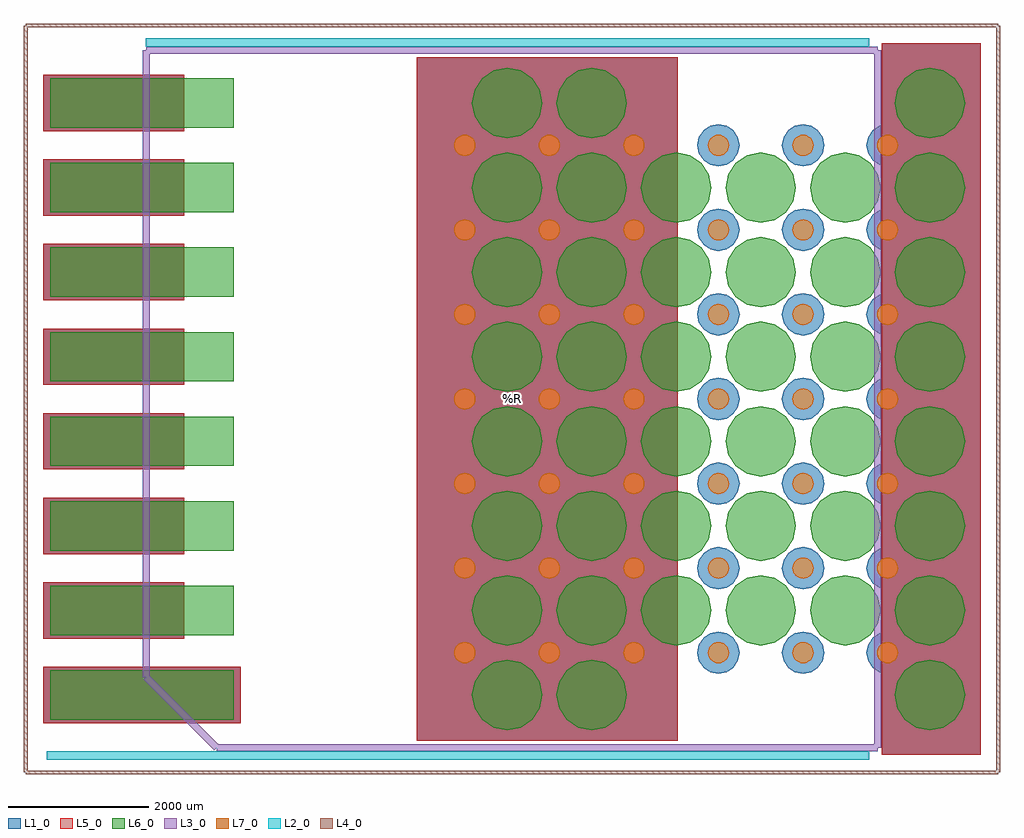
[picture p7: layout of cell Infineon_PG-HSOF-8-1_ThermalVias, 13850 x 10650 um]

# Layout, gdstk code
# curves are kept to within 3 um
import gdstk
lib = gdstk.Library(unit=1e-6, precision=1e-09)
def R(c, l, rs):  # rectangles x0, y0, x1, y1
    for r in rs: c.add(gdstk.rectangle(r[:2], r[2:], *l))
def A(c, l, x, y, w, h, nx, ny, dx, dy):  # array of equal rectangles
    R(c, l, [(x+i*dx, y+j*dy, x+i*dx+w, y+j*dy+h) for i in range(nx) for j in range(ny)])
def P(c, l, *ps):  # polygons
    for p in ps: c.add(gdstk.Polygon(p, *l))
L1_0 = (1, 0)
L2_0 = (2, 0)
L3_0 = (3, 0)
L4_0 = (4, 0)
L5_0 = (5, 0)
L6_0 = (6, 0)
L7_0 = (7, 0)

infineon_pg_hsof_8_1_the = lib.new_cell('Infineon_PG-HSOF-8-1_ThermalVias')
A(infineon_pg_hsof_8_1_the, L1_0, -6650, -3400, 2000, 800, 1, 7, 0, 1200)
R(infineon_pg_hsof_8_1_the, L1_0, [(5250,-5050,6650,5050), (5250,-5050,6650,5050), (-1350,-4850,2350,4850), (-1350,-4850,2350,4850), (-6650,-4600,-3850,-3800)])
P(infineon_pg_hsof_8_1_the, L1_0, [(5630,0),(5607,115),(5542,212),(5445,277),(5330,300),(5215,277),(5118,212),(5053,115),(5030,0),(5053,-115),(5118,-212),(5215,-277),(5330,-300),(5445,-277),(5542,-212),(5607,-115)],
  [(4430,0),(4407,115),(4342,212),(4245,277),(4130,300),(4015,277),(3918,212),(3853,115),(3830,0),(3853,-115),(3918,-212),(4015,-277),(4130,-300),(4245,-277),(4342,-212),(4407,-115)],
  [(-370,1200),(-393,1315),(-458,1412),(-555,1477),(-670,1500),(-785,1477),(-882,1412),(-947,1315),(-970,1200),(-947,1085),(-882,988),(-785,923),(-670,900),(-555,923),(-458,988),(-393,1085)],
  [(2030,1200),(2007,1315),(1942,1412),(1845,1477),(1730,1500),(1615,1477),(1518,1412),(1453,1315),(1430,1200),(1453,1085),(1518,988),(1615,923),(1730,900),(1845,923),(1942,988),(2007,1085)],
  [(830,1200),(807,1315),(742,1412),(645,1477),(530,1500),(415,1477),(318,1412),(253,1315),(230,1200),(253,1085),(318,988),(415,923),(530,900),(645,923),(742,988),(807,1085)],
  [(2030,2400),(2007,2515),(1942,2612),(1845,2677),(1730,2700),(1615,2677),(1518,2612),(1453,2515),(1430,2400),(1453,2285),(1518,2188),(1615,2123),(1730,2100),(1845,2123),(1942,2188),(2007,2285)],
  [(5630,3600),(5607,3715),(5542,3812),(5445,3877),(5330,3900),(5215,3877),(5118,3812),(5053,3715),(5030,3600),(5053,3485),(5118,3388),(5215,3323),(5330,3300),(5445,3323),(5542,3388),(5607,3485)],
  [(4430,1200),(4407,1315),(4342,1412),(4245,1477),(4130,1500),(4015,1477),(3918,1412),(3853,1315),(3830,1200),(3853,1085),(3918,988),(4015,923),(4130,900),(4245,923),(4342,988),(4407,1085)],
  [(3230,2400),(3207,2515),(3142,2612),(3045,2677),(2930,2700),(2815,2677),(2718,2612),(2653,2515),(2630,2400),(2653,2285),(2718,2188),(2815,2123),(2930,2100),(3045,2123),(3142,2188),(3207,2285)],
  [(4430,2400),(4407,2515),(4342,2612),(4245,2677),(4130,2700),(4015,2677),(3918,2612),(3853,2515),(3830,2400),(3853,2285),(3918,2188),(4015,2123),(4130,2100),(4245,2123),(4342,2188),(4407,2285)],
  [(4430,3600),(4407,3715),(4342,3812),(4245,3877),(4130,3900),(4015,3877),(3918,3812),(3853,3715),(3830,3600),(3853,3485),(3918,3388),(4015,3323),(4130,3300),(4245,3323),(4342,3388),(4407,3485)],
  [(3230,1200),(3207,1315),(3142,1412),(3045,1477),(2930,1500),(2815,1477),(2718,1412),(2653,1315),(2630,1200),(2653,1085),(2718,988),(2815,923),(2930,900),(3045,923),(3142,988),(3207,1085)],
  [(3230,3600),(3207,3715),(3142,3812),(3045,3877),(2930,3900),(2815,3877),(2718,3812),(2653,3715),(2630,3600),(2653,3485),(2718,3388),(2815,3323),(2930,3300),(3045,3323),(3142,3388),(3207,3485)],
  [(5630,2400),(5607,2515),(5542,2612),(5445,2677),(5330,2700),(5215,2677),(5118,2612),(5053,2515),(5030,2400),(5053,2285),(5118,2188),(5215,2123),(5330,2100),(5445,2123),(5542,2188),(5607,2285)],
  [(5630,1200),(5607,1315),(5542,1412),(5445,1477),(5330,1500),(5215,1477),(5118,1412),(5053,1315),(5030,1200),(5053,1085),(5118,988),(5215,923),(5330,900),(5445,923),(5542,988),(5607,1085)],
  [(-370,3600),(-393,3715),(-458,3812),(-555,3877),(-670,3900),(-785,3877),(-882,3812),(-947,3715),(-970,3600),(-947,3485),(-882,3388),(-785,3323),(-670,3300),(-555,3323),(-458,3388),(-393,3485)],
  [(-370,2400),(-393,2515),(-458,2612),(-555,2677),(-670,2700),(-785,2677),(-882,2612),(-947,2515),(-970,2400),(-947,2285),(-882,2188),(-785,2123),(-670,2100),(-555,2123),(-458,2188),(-393,2285)],
  [(830,2400),(807,2515),(742,2612),(645,2677),(530,2700),(415,2677),(318,2612),(253,2515),(230,2400),(253,2285),(318,2188),(415,2123),(530,2100),(645,2123),(742,2188),(807,2285)],
  [(830,3600),(807,3715),(742,3812),(645,3877),(530,3900),(415,3877),(318,3812),(253,3715),(230,3600),(253,3485),(318,3388),(415,3323),(530,3300),(645,3323),(742,3388),(807,3485)],
  [(2030,3600),(2007,3715),(1942,3812),(1845,3877),(1730,3900),(1615,3877),(1518,3812),(1453,3715),(1430,3600),(1453,3485),(1518,3388),(1615,3323),(1730,3300),(1845,3323),(1942,3388),(2007,3485)],
  [(3230,0),(3207,115),(3142,212),(3045,277),(2930,300),(2815,277),(2718,212),(2653,115),(2630,0),(2653,-115),(2718,-212),(2815,-277),(2930,-300),(3045,-277),(3142,-212),(3207,-115)],
  [(2030,0),(2007,115),(1942,212),(1845,277),(1730,300),(1615,277),(1518,212),(1453,115),(1430,0),(1453,-115),(1518,-212),(1615,-277),(1730,-300),(1845,-277),(1942,-212),(2007,-115)],
  [(-370,0),(-393,115),(-458,212),(-555,277),(-670,300),(-785,277),(-882,212),(-947,115),(-970,0),(-947,-115),(-882,-212),(-785,-277),(-670,-300),(-555,-277),(-458,-212),(-393,-115)],
  [(830,0),(807,115),(742,212),(645,277),(530,300),(415,277),(318,212),(253,115),(230,0),(253,-115),(318,-212),(415,-277),(530,-300),(645,-277),(742,-212),(807,-115)],
  [(4430,-1200),(4407,-1085),(4342,-988),(4245,-923),(4130,-900),(4015,-923),(3918,-988),(3853,-1085),(3830,-1200),(3853,-1315),(3918,-1412),(4015,-1477),(4130,-1500),(4245,-1477),(4342,-1412),(4407,-1315)],
  [(5630,-1200),(5607,-1085),(5542,-988),(5445,-923),(5330,-900),(5215,-923),(5118,-988),(5053,-1085),(5030,-1200),(5053,-1315),(5118,-1412),(5215,-1477),(5330,-1500),(5445,-1477),(5542,-1412),(5607,-1315)],
  [(2030,-1200),(2007,-1085),(1942,-988),(1845,-923),(1730,-900),(1615,-923),(1518,-988),(1453,-1085),(1430,-1200),(1453,-1315),(1518,-1412),(1615,-1477),(1730,-1500),(1845,-1477),(1942,-1412),(2007,-1315)],
  [(3230,-1200),(3207,-1085),(3142,-988),(3045,-923),(2930,-900),(2815,-923),(2718,-988),(2653,-1085),(2630,-1200),(2653,-1315),(2718,-1412),(2815,-1477),(2930,-1500),(3045,-1477),(3142,-1412),(3207,-1315)],
  [(830,-1200),(807,-1085),(742,-988),(645,-923),(530,-900),(415,-923),(318,-988),(253,-1085),(230,-1200),(253,-1315),(318,-1412),(415,-1477),(530,-1500),(645,-1477),(742,-1412),(807,-1315)],
  [(-370,-1200),(-393,-1085),(-458,-988),(-555,-923),(-670,-900),(-785,-923),(-882,-988),(-947,-1085),(-970,-1200),(-947,-1315),(-882,-1412),(-785,-1477),(-670,-1500),(-555,-1477),(-458,-1412),(-393,-1315)],
  [(830,-2400),(807,-2285),(742,-2188),(645,-2123),(530,-2100),(415,-2123),(318,-2188),(253,-2285),(230,-2400),(253,-2515),(318,-2612),(415,-2677),(530,-2700),(645,-2677),(742,-2612),(807,-2515)],
  [(-370,-2400),(-393,-2285),(-458,-2188),(-555,-2123),(-670,-2100),(-785,-2123),(-882,-2188),(-947,-2285),(-970,-2400),(-947,-2515),(-882,-2612),(-785,-2677),(-670,-2700),(-555,-2677),(-458,-2612),(-393,-2515)],
  [(2030,-2400),(2007,-2285),(1942,-2188),(1845,-2123),(1730,-2100),(1615,-2123),(1518,-2188),(1453,-2285),(1430,-2400),(1453,-2515),(1518,-2612),(1615,-2677),(1730,-2700),(1845,-2677),(1942,-2612),(2007,-2515)],
  [(3230,-2400),(3207,-2285),(3142,-2188),(3045,-2123),(2930,-2100),(2815,-2123),(2718,-2188),(2653,-2285),(2630,-2400),(2653,-2515),(2718,-2612),(2815,-2677),(2930,-2700),(3045,-2677),(3142,-2612),(3207,-2515)],
  [(4430,-2400),(4407,-2285),(4342,-2188),(4245,-2123),(4130,-2100),(4015,-2123),(3918,-2188),(3853,-2285),(3830,-2400),(3853,-2515),(3918,-2612),(4015,-2677),(4130,-2700),(4245,-2677),(4342,-2612),(4407,-2515)],
  [(5630,-2400),(5607,-2285),(5542,-2188),(5445,-2123),(5330,-2100),(5215,-2123),(5118,-2188),(5053,-2285),(5030,-2400),(5053,-2515),(5118,-2612),(5215,-2677),(5330,-2700),(5445,-2677),(5542,-2612),(5607,-2515)],
  [(2030,-3600),(2007,-3485),(1942,-3388),(1845,-3323),(1730,-3300),(1615,-3323),(1518,-3388),(1453,-3485),(1430,-3600),(1453,-3715),(1518,-3812),(1615,-3877),(1730,-3900),(1845,-3877),(1942,-3812),(2007,-3715)],
  [(-370,-3600),(-393,-3485),(-458,-3388),(-555,-3323),(-670,-3300),(-785,-3323),(-882,-3388),(-947,-3485),(-970,-3600),(-947,-3715),(-882,-3812),(-785,-3877),(-670,-3900),(-555,-3877),(-458,-3812),(-393,-3715)],
  [(830,-3600),(807,-3485),(742,-3388),(645,-3323),(530,-3300),(415,-3323),(318,-3388),(253,-3485),(230,-3600),(253,-3715),(318,-3812),(415,-3877),(530,-3900),(645,-3877),(742,-3812),(807,-3715)],
  [(3230,-3600),(3207,-3485),(3142,-3388),(3045,-3323),(2930,-3300),(2815,-3323),(2718,-3388),(2653,-3485),(2630,-3600),(2653,-3715),(2718,-3812),(2815,-3877),(2930,-3900),(3045,-3877),(3142,-3812),(3207,-3715)],
  [(5630,-3600),(5607,-3485),(5542,-3388),(5445,-3323),(5330,-3300),(5215,-3323),(5118,-3388),(5053,-3485),(5030,-3600),(5053,-3715),(5118,-3812),(5215,-3877),(5330,-3900),(5445,-3877),(5542,-3812),(5607,-3715)],
  [(4430,-3600),(4407,-3485),(4342,-3388),(4245,-3323),(4130,-3300),(4015,-3323),(3918,-3388),(3853,-3485),(3830,-3600),(3853,-3715),(3918,-3812),(4015,-3877),(4130,-3900),(4245,-3877),(4342,-3812),(4407,-3715)])
A(infineon_pg_hsof_8_1_the, L5_0, -6650, -3400, 2000, 800, 1, 7, 0, 1200)
R(infineon_pg_hsof_8_1_the, L5_0, [(5250,-5050,6650,5050), (-1350,-4850,2350,4850), (-6650,-4600,-3850,-3800)])
A(infineon_pg_hsof_8_1_the, L6_0, -6550, -4550, 2600, 700, 1, 8, 0, 1200)
P(infineon_pg_hsof_8_1_the, L6_0, [(430,-4200),(392,-4009),(284,-3846),(121,-3738),(-70,-3700),(-261,-3738),(-424,-3846),(-532,-4009),(-570,-4200),(-532,-4391),(-424,-4554),(-261,-4662),(-70,-4700),(121,-4662),(284,-4554),(392,-4391)],
  [(1630,-4200),(1592,-4009),(1484,-3846),(1321,-3738),(1130,-3700),(939,-3738),(776,-3846),(668,-4009),(630,-4200),(668,-4391),(776,-4554),(939,-4662),(1130,-4700),(1321,-4662),(1484,-4554),(1592,-4391)],
  [(6430,-4200),(6392,-4009),(6284,-3846),(6121,-3738),(5930,-3700),(5739,-3738),(5576,-3846),(5468,-4009),(5430,-4200),(5468,-4391),(5576,-4554),(5739,-4662),(5930,-4700),(6121,-4662),(6284,-4554),(6392,-4391)],
  [(430,-3000),(392,-2809),(284,-2646),(121,-2538),(-70,-2500),(-261,-2538),(-424,-2646),(-532,-2809),(-570,-3000),(-532,-3191),(-424,-3354),(-261,-3462),(-70,-3500),(121,-3462),(284,-3354),(392,-3191)],
  [(1630,-3000),(1592,-2809),(1484,-2646),(1321,-2538),(1130,-2500),(939,-2538),(776,-2646),(668,-2809),(630,-3000),(668,-3191),(776,-3354),(939,-3462),(1130,-3500),(1321,-3462),(1484,-3354),(1592,-3191)],
  [(2830,-3000),(2792,-2809),(2684,-2646),(2521,-2538),(2330,-2500),(2139,-2538),(1976,-2646),(1868,-2809),(1830,-3000),(1868,-3191),(1976,-3354),(2139,-3462),(2330,-3500),(2521,-3462),(2684,-3354),(2792,-3191)],
  [(4030,-3000),(3992,-2809),(3884,-2646),(3721,-2538),(3530,-2500),(3339,-2538),(3176,-2646),(3068,-2809),(3030,-3000),(3068,-3191),(3176,-3354),(3339,-3462),(3530,-3500),(3721,-3462),(3884,-3354),(3992,-3191)],
  [(5230,-3000),(5192,-2809),(5084,-2646),(4921,-2538),(4730,-2500),(4539,-2538),(4376,-2646),(4268,-2809),(4230,-3000),(4268,-3191),(4376,-3354),(4539,-3462),(4730,-3500),(4921,-3462),(5084,-3354),(5192,-3191)],
  [(6430,-3000),(6392,-2809),(6284,-2646),(6121,-2538),(5930,-2500),(5739,-2538),(5576,-2646),(5468,-2809),(5430,-3000),(5468,-3191),(5576,-3354),(5739,-3462),(5930,-3500),(6121,-3462),(6284,-3354),(6392,-3191)],
  [(430,-1800),(392,-1609),(284,-1446),(121,-1338),(-70,-1300),(-261,-1338),(-424,-1446),(-532,-1609),(-570,-1800),(-532,-1991),(-424,-2154),(-261,-2262),(-70,-2300),(121,-2262),(284,-2154),(392,-1991)],
  [(1630,-1800),(1592,-1609),(1484,-1446),(1321,-1338),(1130,-1300),(939,-1338),(776,-1446),(668,-1609),(630,-1800),(668,-1991),(776,-2154),(939,-2262),(1130,-2300),(1321,-2262),(1484,-2154),(1592,-1991)],
  [(2830,-1800),(2792,-1609),(2684,-1446),(2521,-1338),(2330,-1300),(2139,-1338),(1976,-1446),(1868,-1609),(1830,-1800),(1868,-1991),(1976,-2154),(2139,-2262),(2330,-2300),(2521,-2262),(2684,-2154),(2792,-1991)],
  [(4030,-1800),(3992,-1609),(3884,-1446),(3721,-1338),(3530,-1300),(3339,-1338),(3176,-1446),(3068,-1609),(3030,-1800),(3068,-1991),(3176,-2154),(3339,-2262),(3530,-2300),(3721,-2262),(3884,-2154),(3992,-1991)],
  [(5230,-1800),(5192,-1609),(5084,-1446),(4921,-1338),(4730,-1300),(4539,-1338),(4376,-1446),(4268,-1609),(4230,-1800),(4268,-1991),(4376,-2154),(4539,-2262),(4730,-2300),(4921,-2262),(5084,-2154),(5192,-1991)],
  [(6430,-1800),(6392,-1609),(6284,-1446),(6121,-1338),(5930,-1300),(5739,-1338),(5576,-1446),(5468,-1609),(5430,-1800),(5468,-1991),(5576,-2154),(5739,-2262),(5930,-2300),(6121,-2262),(6284,-2154),(6392,-1991)],
  [(430,-600),(392,-409),(284,-246),(121,-138),(-70,-100),(-261,-138),(-424,-246),(-532,-409),(-570,-600),(-532,-791),(-424,-954),(-261,-1062),(-70,-1100),(121,-1062),(284,-954),(392,-791)],
  [(1630,-600),(1592,-409),(1484,-246),(1321,-138),(1130,-100),(939,-138),(776,-246),(668,-409),(630,-600),(668,-791),(776,-954),(939,-1062),(1130,-1100),(1321,-1062),(1484,-954),(1592,-791)],
  [(2830,-600),(2792,-409),(2684,-246),(2521,-138),(2330,-100),(2139,-138),(1976,-246),(1868,-409),(1830,-600),(1868,-791),(1976,-954),(2139,-1062),(2330,-1100),(2521,-1062),(2684,-954),(2792,-791)],
  [(4030,-600),(3992,-409),(3884,-246),(3721,-138),(3530,-100),(3339,-138),(3176,-246),(3068,-409),(3030,-600),(3068,-791),(3176,-954),(3339,-1062),(3530,-1100),(3721,-1062),(3884,-954),(3992,-791)],
  [(5230,-600),(5192,-409),(5084,-246),(4921,-138),(4730,-100),(4539,-138),(4376,-246),(4268,-409),(4230,-600),(4268,-791),(4376,-954),(4539,-1062),(4730,-1100),(4921,-1062),(5084,-954),(5192,-791)],
  [(6430,-600),(6392,-409),(6284,-246),(6121,-138),(5930,-100),(5739,-138),(5576,-246),(5468,-409),(5430,-600),(5468,-791),(5576,-954),(5739,-1062),(5930,-1100),(6121,-1062),(6284,-954),(6392,-791)],
  [(430,600),(392,791),(284,954),(121,1062),(-70,1100),(-261,1062),(-424,954),(-532,791),(-570,600),(-532,409),(-424,246),(-261,138),(-70,100),(121,138),(284,246),(392,409)],
  [(1630,600),(1592,791),(1484,954),(1321,1062),(1130,1100),(939,1062),(776,954),(668,791),(630,600),(668,409),(776,246),(939,138),(1130,100),(1321,138),(1484,246),(1592,409)],
  [(2830,600),(2792,791),(2684,954),(2521,1062),(2330,1100),(2139,1062),(1976,954),(1868,791),(1830,600),(1868,409),(1976,246),(2139,138),(2330,100),(2521,138),(2684,246),(2792,409)],
  [(4030,600),(3992,791),(3884,954),(3721,1062),(3530,1100),(3339,1062),(3176,954),(3068,791),(3030,600),(3068,409),(3176,246),(3339,138),(3530,100),(3721,138),(3884,246),(3992,409)],
  [(5230,600),(5192,791),(5084,954),(4921,1062),(4730,1100),(4539,1062),(4376,954),(4268,791),(4230,600),(4268,409),(4376,246),(4539,138),(4730,100),(4921,138),(5084,246),(5192,409)],
  [(6430,600),(6392,791),(6284,954),(6121,1062),(5930,1100),(5739,1062),(5576,954),(5468,791),(5430,600),(5468,409),(5576,246),(5739,138),(5930,100),(6121,138),(6284,246),(6392,409)],
  [(430,1800),(392,1991),(284,2154),(121,2262),(-70,2300),(-261,2262),(-424,2154),(-532,1991),(-570,1800),(-532,1609),(-424,1446),(-261,1338),(-70,1300),(121,1338),(284,1446),(392,1609)],
  [(1630,1800),(1592,1991),(1484,2154),(1321,2262),(1130,2300),(939,2262),(776,2154),(668,1991),(630,1800),(668,1609),(776,1446),(939,1338),(1130,1300),(1321,1338),(1484,1446),(1592,1609)],
  [(2830,1800),(2792,1991),(2684,2154),(2521,2262),(2330,2300),(2139,2262),(1976,2154),(1868,1991),(1830,1800),(1868,1609),(1976,1446),(2139,1338),(2330,1300),(2521,1338),(2684,1446),(2792,1609)],
  [(4030,1800),(3992,1991),(3884,2154),(3721,2262),(3530,2300),(3339,2262),(3176,2154),(3068,1991),(3030,1800),(3068,1609),(3176,1446),(3339,1338),(3530,1300),(3721,1338),(3884,1446),(3992,1609)],
  [(5230,1800),(5192,1991),(5084,2154),(4921,2262),(4730,2300),(4539,2262),(4376,2154),(4268,1991),(4230,1800),(4268,1609),(4376,1446),(4539,1338),(4730,1300),(4921,1338),(5084,1446),(5192,1609)],
  [(6430,1800),(6392,1991),(6284,2154),(6121,2262),(5930,2300),(5739,2262),(5576,2154),(5468,1991),(5430,1800),(5468,1609),(5576,1446),(5739,1338),(5930,1300),(6121,1338),(6284,1446),(6392,1609)],
  [(430,3000),(392,3191),(284,3354),(121,3462),(-70,3500),(-261,3462),(-424,3354),(-532,3191),(-570,3000),(-532,2809),(-424,2646),(-261,2538),(-70,2500),(121,2538),(284,2646),(392,2809)],
  [(1630,3000),(1592,3191),(1484,3354),(1321,3462),(1130,3500),(939,3462),(776,3354),(668,3191),(630,3000),(668,2809),(776,2646),(939,2538),(1130,2500),(1321,2538),(1484,2646),(1592,2809)],
  [(2830,3000),(2792,3191),(2684,3354),(2521,3462),(2330,3500),(2139,3462),(1976,3354),(1868,3191),(1830,3000),(1868,2809),(1976,2646),(2139,2538),(2330,2500),(2521,2538),(2684,2646),(2792,2809)],
  [(4030,3000),(3992,3191),(3884,3354),(3721,3462),(3530,3500),(3339,3462),(3176,3354),(3068,3191),(3030,3000),(3068,2809),(3176,2646),(3339,2538),(3530,2500),(3721,2538),(3884,2646),(3992,2809)],
  [(5230,3000),(5192,3191),(5084,3354),(4921,3462),(4730,3500),(4539,3462),(4376,3354),(4268,3191),(4230,3000),(4268,2809),(4376,2646),(4539,2538),(4730,2500),(4921,2538),(5084,2646),(5192,2809)],
  [(6430,3000),(6392,3191),(6284,3354),(6121,3462),(5930,3500),(5739,3462),(5576,3354),(5468,3191),(5430,3000),(5468,2809),(5576,2646),(5739,2538),(5930,2500),(6121,2538),(6284,2646),(6392,2809)],
  [(430,4200),(392,4391),(284,4554),(121,4662),(-70,4700),(-261,4662),(-424,4554),(-532,4391),(-570,4200),(-532,4009),(-424,3846),(-261,3738),(-70,3700),(121,3738),(284,3846),(392,4009)],
  [(1630,4200),(1592,4391),(1484,4554),(1321,4662),(1130,4700),(939,4662),(776,4554),(668,4391),(630,4200),(668,4009),(776,3846),(939,3738),(1130,3700),(1321,3738),(1484,3846),(1592,4009)],
  [(6430,4200),(6392,4391),(6284,4554),(6121,4662),(5930,4700),(5739,4662),(5576,4554),(5468,4391),(5430,4200),(5468,4009),(5576,3846),(5739,3738),(5930,3700),(6121,3738),(6284,3846),(6392,4009)])
P(infineon_pg_hsof_8_1_the, L7_0, [(5480,0),(5469,57),(5436,106),(5387,139),(5330,150),(5273,139),(5224,106),(5191,57),(5180,0),(5191,-57),(5224,-106),(5273,-139),(5330,-150),(5387,-139),(5436,-106),(5469,-57)],
  [(4280,0),(4269,57),(4236,106),(4187,139),(4130,150),(4073,139),(4024,106),(3991,57),(3980,0),(3991,-57),(4024,-106),(4073,-139),(4130,-150),(4187,-139),(4236,-106),(4269,-57)],
  [(-520,1200),(-531,1257),(-564,1306),(-613,1339),(-670,1350),(-727,1339),(-776,1306),(-809,1257),(-820,1200),(-809,1143),(-776,1094),(-727,1061),(-670,1050),(-613,1061),(-564,1094),(-531,1143)],
  [(1880,1200),(1869,1257),(1836,1306),(1787,1339),(1730,1350),(1673,1339),(1624,1306),(1591,1257),(1580,1200),(1591,1143),(1624,1094),(1673,1061),(1730,1050),(1787,1061),(1836,1094),(1869,1143)],
  [(680,1200),(669,1257),(636,1306),(587,1339),(530,1350),(473,1339),(424,1306),(391,1257),(380,1200),(391,1143),(424,1094),(473,1061),(530,1050),(587,1061),(636,1094),(669,1143)],
  [(1880,2400),(1869,2457),(1836,2506),(1787,2539),(1730,2550),(1673,2539),(1624,2506),(1591,2457),(1580,2400),(1591,2343),(1624,2294),(1673,2261),(1730,2250),(1787,2261),(1836,2294),(1869,2343)],
  [(5480,3600),(5469,3657),(5436,3706),(5387,3739),(5330,3750),(5273,3739),(5224,3706),(5191,3657),(5180,3600),(5191,3543),(5224,3494),(5273,3461),(5330,3450),(5387,3461),(5436,3494),(5469,3543)],
  [(4280,1200),(4269,1257),(4236,1306),(4187,1339),(4130,1350),(4073,1339),(4024,1306),(3991,1257),(3980,1200),(3991,1143),(4024,1094),(4073,1061),(4130,1050),(4187,1061),(4236,1094),(4269,1143)],
  [(3080,2400),(3069,2457),(3036,2506),(2987,2539),(2930,2550),(2873,2539),(2824,2506),(2791,2457),(2780,2400),(2791,2343),(2824,2294),(2873,2261),(2930,2250),(2987,2261),(3036,2294),(3069,2343)],
  [(4280,2400),(4269,2457),(4236,2506),(4187,2539),(4130,2550),(4073,2539),(4024,2506),(3991,2457),(3980,2400),(3991,2343),(4024,2294),(4073,2261),(4130,2250),(4187,2261),(4236,2294),(4269,2343)],
  [(4280,3600),(4269,3657),(4236,3706),(4187,3739),(4130,3750),(4073,3739),(4024,3706),(3991,3657),(3980,3600),(3991,3543),(4024,3494),(4073,3461),(4130,3450),(4187,3461),(4236,3494),(4269,3543)],
  [(3080,1200),(3069,1257),(3036,1306),(2987,1339),(2930,1350),(2873,1339),(2824,1306),(2791,1257),(2780,1200),(2791,1143),(2824,1094),(2873,1061),(2930,1050),(2987,1061),(3036,1094),(3069,1143)],
  [(3080,3600),(3069,3657),(3036,3706),(2987,3739),(2930,3750),(2873,3739),(2824,3706),(2791,3657),(2780,3600),(2791,3543),(2824,3494),(2873,3461),(2930,3450),(2987,3461),(3036,3494),(3069,3543)],
  [(5480,2400),(5469,2457),(5436,2506),(5387,2539),(5330,2550),(5273,2539),(5224,2506),(5191,2457),(5180,2400),(5191,2343),(5224,2294),(5273,2261),(5330,2250),(5387,2261),(5436,2294),(5469,2343)],
  [(5480,1200),(5469,1257),(5436,1306),(5387,1339),(5330,1350),(5273,1339),(5224,1306),(5191,1257),(5180,1200),(5191,1143),(5224,1094),(5273,1061),(5330,1050),(5387,1061),(5436,1094),(5469,1143)],
  [(-520,3600),(-531,3657),(-564,3706),(-613,3739),(-670,3750),(-727,3739),(-776,3706),(-809,3657),(-820,3600),(-809,3543),(-776,3494),(-727,3461),(-670,3450),(-613,3461),(-564,3494),(-531,3543)],
  [(-520,2400),(-531,2457),(-564,2506),(-613,2539),(-670,2550),(-727,2539),(-776,2506),(-809,2457),(-820,2400),(-809,2343),(-776,2294),(-727,2261),(-670,2250),(-613,2261),(-564,2294),(-531,2343)],
  [(680,2400),(669,2457),(636,2506),(587,2539),(530,2550),(473,2539),(424,2506),(391,2457),(380,2400),(391,2343),(424,2294),(473,2261),(530,2250),(587,2261),(636,2294),(669,2343)],
  [(680,3600),(669,3657),(636,3706),(587,3739),(530,3750),(473,3739),(424,3706),(391,3657),(380,3600),(391,3543),(424,3494),(473,3461),(530,3450),(587,3461),(636,3494),(669,3543)],
  [(1880,3600),(1869,3657),(1836,3706),(1787,3739),(1730,3750),(1673,3739),(1624,3706),(1591,3657),(1580,3600),(1591,3543),(1624,3494),(1673,3461),(1730,3450),(1787,3461),(1836,3494),(1869,3543)],
  [(3080,0),(3069,57),(3036,106),(2987,139),(2930,150),(2873,139),(2824,106),(2791,57),(2780,0),(2791,-57),(2824,-106),(2873,-139),(2930,-150),(2987,-139),(3036,-106),(3069,-57)],
  [(1880,0),(1869,57),(1836,106),(1787,139),(1730,150),(1673,139),(1624,106),(1591,57),(1580,0),(1591,-57),(1624,-106),(1673,-139),(1730,-150),(1787,-139),(1836,-106),(1869,-57)],
  [(-520,0),(-531,57),(-564,106),(-613,139),(-670,150),(-727,139),(-776,106),(-809,57),(-820,0),(-809,-57),(-776,-106),(-727,-139),(-670,-150),(-613,-139),(-564,-106),(-531,-57)],
  [(680,0),(669,57),(636,106),(587,139),(530,150),(473,139),(424,106),(391,57),(380,0),(391,-57),(424,-106),(473,-139),(530,-150),(587,-139),(636,-106),(669,-57)],
  [(4280,-1200),(4269,-1143),(4236,-1094),(4187,-1061),(4130,-1050),(4073,-1061),(4024,-1094),(3991,-1143),(3980,-1200),(3991,-1257),(4024,-1306),(4073,-1339),(4130,-1350),(4187,-1339),(4236,-1306),(4269,-1257)],
  [(5480,-1200),(5469,-1143),(5436,-1094),(5387,-1061),(5330,-1050),(5273,-1061),(5224,-1094),(5191,-1143),(5180,-1200),(5191,-1257),(5224,-1306),(5273,-1339),(5330,-1350),(5387,-1339),(5436,-1306),(5469,-1257)],
  [(1880,-1200),(1869,-1143),(1836,-1094),(1787,-1061),(1730,-1050),(1673,-1061),(1624,-1094),(1591,-1143),(1580,-1200),(1591,-1257),(1624,-1306),(1673,-1339),(1730,-1350),(1787,-1339),(1836,-1306),(1869,-1257)],
  [(3080,-1200),(3069,-1143),(3036,-1094),(2987,-1061),(2930,-1050),(2873,-1061),(2824,-1094),(2791,-1143),(2780,-1200),(2791,-1257),(2824,-1306),(2873,-1339),(2930,-1350),(2987,-1339),(3036,-1306),(3069,-1257)],
  [(680,-1200),(669,-1143),(636,-1094),(587,-1061),(530,-1050),(473,-1061),(424,-1094),(391,-1143),(380,-1200),(391,-1257),(424,-1306),(473,-1339),(530,-1350),(587,-1339),(636,-1306),(669,-1257)],
  [(-520,-1200),(-531,-1143),(-564,-1094),(-613,-1061),(-670,-1050),(-727,-1061),(-776,-1094),(-809,-1143),(-820,-1200),(-809,-1257),(-776,-1306),(-727,-1339),(-670,-1350),(-613,-1339),(-564,-1306),(-531,-1257)],
  [(680,-2400),(669,-2343),(636,-2294),(587,-2261),(530,-2250),(473,-2261),(424,-2294),(391,-2343),(380,-2400),(391,-2457),(424,-2506),(473,-2539),(530,-2550),(587,-2539),(636,-2506),(669,-2457)],
  [(-520,-2400),(-531,-2343),(-564,-2294),(-613,-2261),(-670,-2250),(-727,-2261),(-776,-2294),(-809,-2343),(-820,-2400),(-809,-2457),(-776,-2506),(-727,-2539),(-670,-2550),(-613,-2539),(-564,-2506),(-531,-2457)],
  [(1880,-2400),(1869,-2343),(1836,-2294),(1787,-2261),(1730,-2250),(1673,-2261),(1624,-2294),(1591,-2343),(1580,-2400),(1591,-2457),(1624,-2506),(1673,-2539),(1730,-2550),(1787,-2539),(1836,-2506),(1869,-2457)],
  [(3080,-2400),(3069,-2343),(3036,-2294),(2987,-2261),(2930,-2250),(2873,-2261),(2824,-2294),(2791,-2343),(2780,-2400),(2791,-2457),(2824,-2506),(2873,-2539),(2930,-2550),(2987,-2539),(3036,-2506),(3069,-2457)],
  [(4280,-2400),(4269,-2343),(4236,-2294),(4187,-2261),(4130,-2250),(4073,-2261),(4024,-2294),(3991,-2343),(3980,-2400),(3991,-2457),(4024,-2506),(4073,-2539),(4130,-2550),(4187,-2539),(4236,-2506),(4269,-2457)],
  [(5480,-2400),(5469,-2343),(5436,-2294),(5387,-2261),(5330,-2250),(5273,-2261),(5224,-2294),(5191,-2343),(5180,-2400),(5191,-2457),(5224,-2506),(5273,-2539),(5330,-2550),(5387,-2539),(5436,-2506),(5469,-2457)],
  [(1880,-3600),(1869,-3543),(1836,-3494),(1787,-3461),(1730,-3450),(1673,-3461),(1624,-3494),(1591,-3543),(1580,-3600),(1591,-3657),(1624,-3706),(1673,-3739),(1730,-3750),(1787,-3739),(1836,-3706),(1869,-3657)],
  [(-520,-3600),(-531,-3543),(-564,-3494),(-613,-3461),(-670,-3450),(-727,-3461),(-776,-3494),(-809,-3543),(-820,-3600),(-809,-3657),(-776,-3706),(-727,-3739),(-670,-3750),(-613,-3739),(-564,-3706),(-531,-3657)],
  [(680,-3600),(669,-3543),(636,-3494),(587,-3461),(530,-3450),(473,-3461),(424,-3494),(391,-3543),(380,-3600),(391,-3657),(424,-3706),(473,-3739),(530,-3750),(587,-3739),(636,-3706),(669,-3657)],
  [(3080,-3600),(3069,-3543),(3036,-3494),(2987,-3461),(2930,-3450),(2873,-3461),(2824,-3494),(2791,-3543),(2780,-3600),(2791,-3657),(2824,-3706),(2873,-3739),(2930,-3750),(2987,-3739),(3036,-3706),(3069,-3657)],
  [(5480,-3600),(5469,-3543),(5436,-3494),(5387,-3461),(5330,-3450),(5273,-3461),(5224,-3494),(5191,-3543),(5180,-3600),(5191,-3657),(5224,-3706),(5273,-3739),(5330,-3750),(5387,-3739),(5436,-3706),(5469,-3657)],
  [(4280,-3600),(4269,-3543),(4236,-3494),(4187,-3461),(4130,-3450),(4073,-3461),(4024,-3494),(3991,-3543),(3980,-3600),(3991,-3657),(4024,-3706),(4073,-3739),(4130,-3750),(4187,-3739),(4236,-3706),(4269,-3657)])
infineon_pg_hsof_8_1_the.add(gdstk.FlexPath([(-4188,-4950),(-5188,-3950)], 100, ends="flush", simple_path=True, layer=3, datatype=0))  # L3_0
infineon_pg_hsof_8_1_the.add(gdstk.FlexPath([(6900,-5300),(6900,5300)], 50, ends="flush", simple_path=True, layer=4, datatype=0))  # L4_0
infineon_pg_hsof_8_1_the.add(gdstk.FlexPath([(-6900,5300),(-6900,-5300)], 50, ends="flush", simple_path=True, layer=4, datatype=0))  # L4_0
infineon_pg_hsof_8_1_the.add(gdstk.FlexPath([(-6900,5300),(6900,5300)], 50, ends="flush", simple_path=True, layer=4, datatype=0))  # L4_0
infineon_pg_hsof_8_1_the.add(gdstk.FlexPath([(6900,-5300),(-6900,-5300)], 50, ends="flush", simple_path=True, layer=4, datatype=0))  # L4_0
infineon_pg_hsof_8_1_the.add(gdstk.FlexPath([(-5200,5060),(5070,5060)], 120, ends="flush", simple_path=True, layer=2, datatype=0))  # L2_0
infineon_pg_hsof_8_1_the.add(gdstk.FlexPath([(5070,-5060),(-6600,-5060)], 120, ends="flush", simple_path=True, layer=2, datatype=0))  # L2_0
infineon_pg_hsof_8_1_the.add(gdstk.FlexPath([(5188,-4950),(5188,4950)], 100, ends="flush", simple_path=True, layer=3, datatype=0))  # L3_0
infineon_pg_hsof_8_1_the.add(gdstk.FlexPath([(5188,4950),(-5188,4950)], 100, ends="flush", simple_path=True, layer=3, datatype=0))  # L3_0
infineon_pg_hsof_8_1_the.add(gdstk.FlexPath([(-5188,4950),(-5188,-3950)], 100, ends="flush", simple_path=True, layer=3, datatype=0))  # L3_0
infineon_pg_hsof_8_1_the.add(gdstk.FlexPath([(-4188,-4950),(5188,-4950)], 100, ends="flush", simple_path=True, layer=3, datatype=0))  # L3_0
infineon_pg_hsof_8_1_the.add(gdstk.Label('REF**', (0,-6000), layer=2, texttype=0))
infineon_pg_hsof_8_1_the.add(gdstk.Label('Infineon_PG-HSOF-8-1_ThermalVias', (0,6000), layer=3, texttype=0))
infineon_pg_hsof_8_1_the.add(gdstk.Label('%R', (0,0), layer=3, texttype=0))

lib.write_gds('Infineon_PG-HSOF-8-1_ThermalVias.gds')
